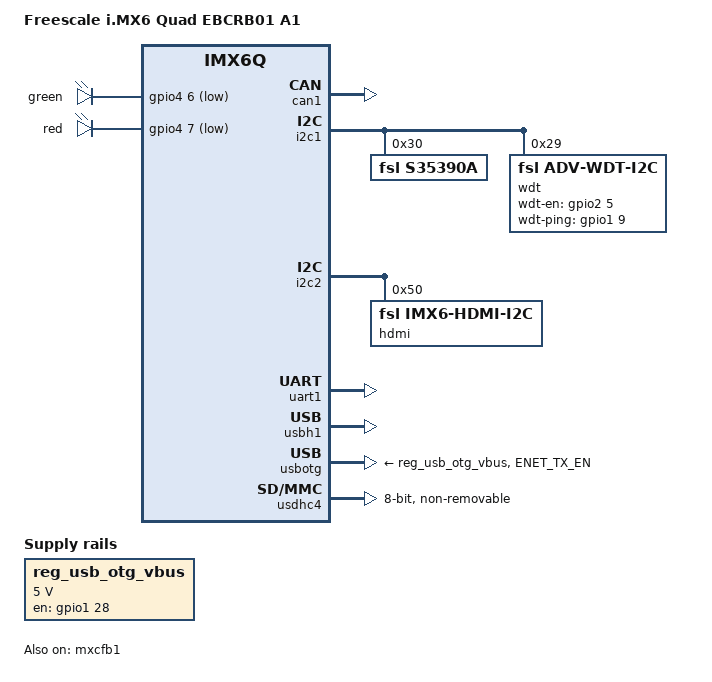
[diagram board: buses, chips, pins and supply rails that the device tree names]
/*
 * Copyright 2012 Freescale Semiconductor, Inc.
 * Copyright 2011 Linaro Ltd.
 *
 * The code contained herein is licensed under the GNU General Public
 * License. You may obtain a copy of the GNU General Public License
 * Version 2 or later at the following locations:
 *
 * http://www.opensource.org/licenses/gpl-license.html
 * http://www.gnu.org/copyleft/gpl.html
 */

/dts-v1/;

#include "imx6q.dtsi"
#include "imx6qdl-advantech.dtsi"

/ {
	model = "Freescale i.MX6 Quad EBCRB01 A1";
	compatible = "fsl,imx6q-sabresd", "fsl,imx6q";

	board {
		compatible = "proc-board";
		board-type = "EBC-RB01 A1";
		board-cpu = "DualQuad";
	};
	
	regulators {
                reg_usb_otg_vbus: usb_otg_vbus {
                        compatible = "regulator-fixed";
                        regulator-name = "usb_otg_vbus";
                        regulator-min-microvolt = <5000000>;
                        regulator-max-microvolt = <5000000>;
                        gpio = <&gpio1 28 GPIO_ACTIVE_HIGH>;
                        enable-active-high;
                };
        };

	gpio-leds {
		compatible = "gpio-leds";

		led-green {
			label = "green";
			gpios = <&gpio4 6 GPIO_ACTIVE_LOW>;
		};

		led-red {
			label = "red";
			gpios = <&gpio4 7 GPIO_ACTIVE_LOW>;
		};
	};
};

&audio_sgtl5000 {
	status = "disabled";
};

&can1 {
        pinctrl-names = "default";
        pinctrl-0 = <&pinctrl_flexcan1_1>;
        status = "okay";
};

&i2c1 {
	s35390a@30 {
		compatible = "fsl,s35390a";
		reg = <0x30>;
	};

	wdt@29 {
		compatible = "fsl,adv-wdt-i2c";
		pinctrl-names = "default";
		pinctrl-0 = <&pinctrl_wdt_en_1 &pinctrl_wdt_ping_1>;
		status = "okay";
		wdt-en = <&gpio2 5 0>;
		wdt-ping = <&gpio1 9 0>;
		reg = <0x29>;
	};
};

&i2c2 {
	hdmi: edid@50 {
		compatible = "fsl,imx6-hdmi-i2c";
		reg = <0x50>;
	};
};

&i2c3 {
	status = "disabled";
};

&iomuxc {
	pinctrl-names = "default";
	pinctrl-0 = <&pinctrl_hog_1>;

	hog {
		pinctrl_hog_1: hoggrp-1 {
                        fsl,pins = <
                                MX6QDL_PAD_SD3_DAT4__GPIO7_IO01         0x80000000      /* SD3_CD */
                                MX6QDL_PAD_SD3_DAT5__GPIO7_IO00         0x80000000      /* SD3_WP */
                                MX6QDL_PAD_SD2_CMD__GPIO1_IO11         	0x80000000      /* SDIO RST */
                                MX6QDL_PAD_SD2_CLK__GPIO1_IO10         	0x80000000      /* SDIO WAKE */
                                MX6QDL_PAD_NANDF_D7__GPIO2_IO07        	0x80000000      /* M.2 WLAN OFF */
                                MX6QDL_PAD_NANDF_D1__GPIO2_IO01        	0x80000000      /* M.2 BT OFF */
				MX6QDL_PAD_GPIO_19__GPIO4_IO05		0x80000000	/* UART 5 WAKE */
                                MX6QDL_PAD_GPIO_0__CCM_CLKO1            0x130b0		/* AUDIO CLK */
                        >;
                };
	};

	spi1 {
		pinctrl_ecspi1_cs_0: ecspi1_cs_grp-0 {
			fsl,pins = <
				MX6QDL_PAD_EIM_EB2__GPIO2_IO30		0x80000000	/* ECSPI1_CS0 */
			>;
		};
	};

	wdt{
		pinctrl_wdt_en_1: wdt_engrp-1 {
			fsl,pins = <
				MX6QDL_PAD_NANDF_D5__GPIO2_IO05		0x80000000
			>;
		};
		pinctrl_wdt_ping_1: wdt_pinggrp-1 {
			fsl,pins = <
				MX6QDL_PAD_GPIO_9__GPIO1_IO09		0x80000000
			>;
		};
	};

	usbotg {
		pinctrl_usbotg_3: usbh1_grp-3 {
                        fsl,pins = <
                                MX6QDL_PAD_ENET_TX_EN__GPIO1_IO28       0x80000000      /* USB_OTG_PWR */
                        >;
                };
        };

	leds {
		pinctrl_leds_1: leds_grp-1{
			fsl,pins = <
				MX6QDL_PAD_KEY_COL0__GPIO4_IO06		0x80000000	/* GREEN_STATUS_LED# */
				MX6QDL_PAD_KEY_ROW0__GPIO4_IO07		0x80000000	/* RED_STATUS_LED# */
			>;
		};
	};
};

&audmux {
	status = "disabled";
};

&ldb {
	status = "disabled";
};

&mxcfb1 {
	status = "okay";
};

&uart1 {
	pinctrl-names = "default";
	pinctrl-0 = <&pinctrl_uart1_1>;
	status = "okay";
};

&usbh1 {
	status = "okay";
};

&usbotg {
        pinctrl-names = "default";
        pinctrl-0 = <&pinctrl_usbotg_2 &pinctrl_usbotg_3>;
        vbus-supply = <&reg_usb_otg_vbus>;
        imx6-usb-charger-detection;
        status = "okay";
};

&usdhc4 {
	pinctrl-names = "default";
	pinctrl-0 = <&pinctrl_usdhc4_1>;
	bus-width = <8>;
	non-removable;
	no-1-8-v;
	keep-power-in-suspend;
	status = "okay";
};

&wdog1 {
	status = "disabled";
};
